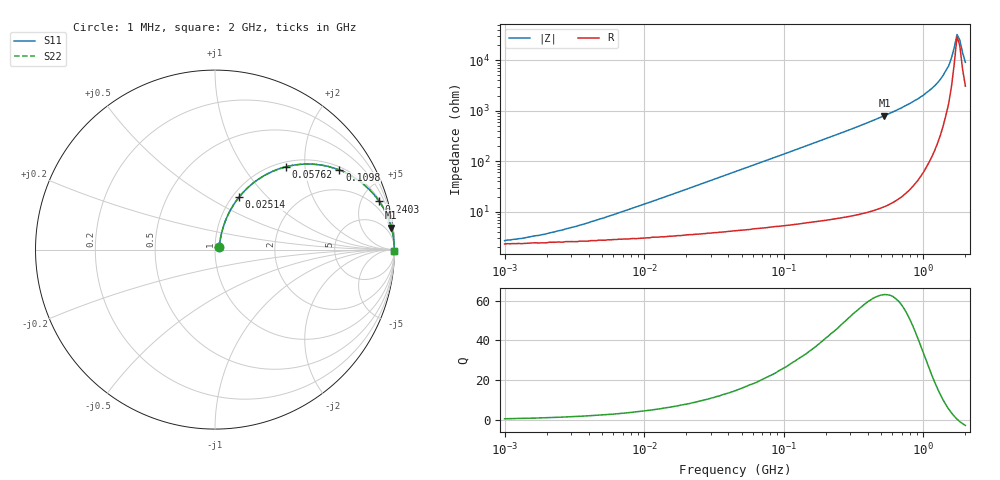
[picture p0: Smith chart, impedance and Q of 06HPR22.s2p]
# MHz S MA R 50
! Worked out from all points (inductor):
!   166 points, 1 MHz to 2 GHz, reference 50 ohm
!   read as one part in series: L = 220 nH near 6.313 MHz
!   highest Q = 63 at 525.8 MHz (marker M1), where L = 242 nH
!   self-resonance near 1.742 GHz
!   S11 on the Smith chart (normalised r, x): 1 MHz: 1.05, +0.03; 25.14 MHz: 1.07, +0.70; 57.62 MHz: 1.09, +1.60; 109.8 MHz: 1.11, +3.05; 240.3 MHz: 1.16, +6.77; 2 GHz: open
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1  0.026 29.9  0.977 -0.8  0.977 -0.8  0.026 29.9
1.738  0.033 43.3  0.976 -1.3  0.976 -1.3  0.033 43.3
3.632  0.055 59.6  0.973 -2.8  0.973 -2.8  0.055 59.6
13.193  0.177 70.0  0.954 -10.0  0.954 -10.0  0.177 70.0
25.144  0.32 65.5  0.915 -18.5  0.915 -18.5  0.32 65.5
45.763  0.52 54.9  0.82 -31.3  0.82 -31.3  0.52 54.9
57.617  0.608 49.4  0.761 -37.3  0.761 -37.3  0.608 49.4
79.541  0.725 41.0  0.657 -46.4  0.657 -46.4  0.725 41.0
109.809  0.823 32.6  0.54 -55.3  0.54 -55.3  0.823 32.6
166.224  0.909 23.1  0.392 -65.4  0.392 -65.4  0.909 23.1
240.294  0.953 16.4  0.282 -72.4  0.282 -72.4  0.953 16.4
525.834  0.99 7.1  0.124 -82.0  0.124 -82.0  0.99 7.1
576.582  0.992 6.4  0.111 -82.7  0.111 -82.7  0.992 6.4
913.953  0.997 3.3  0.058 -85.3  0.058 -85.3  0.997 3.3
1261.733  0.998 1.6  0.028 -84.8  0.028 -84.8  0.998 1.6
1517.024  0.998 0.7  0.013 -79.0  0.013 -79.0  0.998 0.7
1588.542  0.998 0.5  0.009051 -73.8  0.009051 -73.8  0.998 0.5
1663.432  0.997 0.3  0.005607 -61.7  0.005607 -61.7  0.997 0.3
1741.852  0.997 0.1  0.003086 -22.9  0.003086 -22.9  0.997 0.1
1823.969  0.997 -0.1  0.003989 39.4  0.003989 39.4  0.997 -0.1
1909.958  0.997 -0.4  0.007112 61.7  0.007112 61.7  0.997 -0.4
2000  0.996 -0.6  0.011 69.6  0.011 69.6  0.996 -0.6
